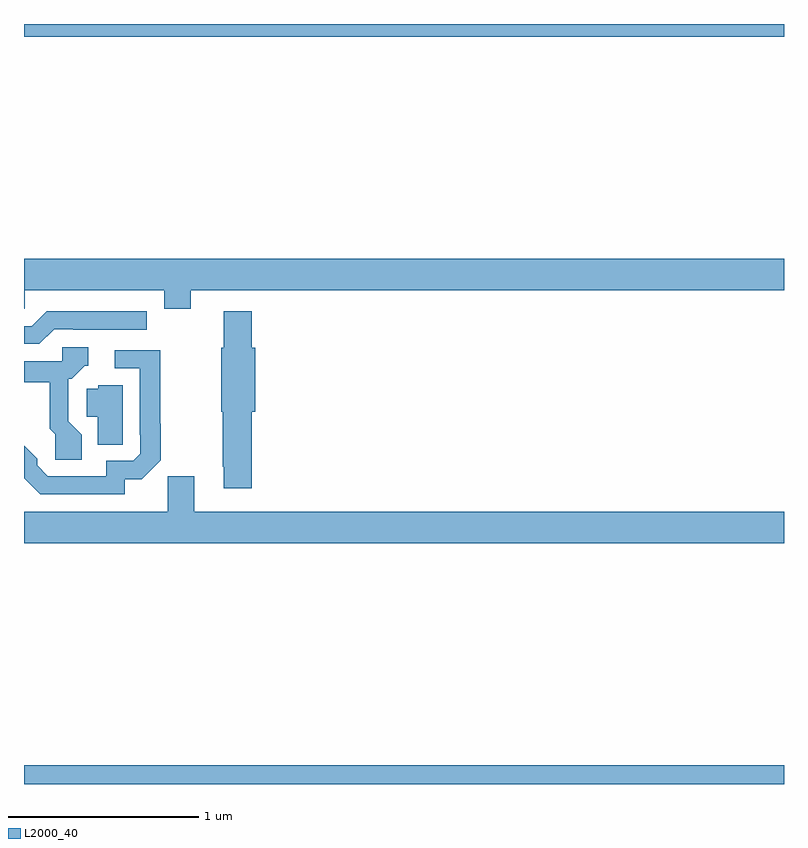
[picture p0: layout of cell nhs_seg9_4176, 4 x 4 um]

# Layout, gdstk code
import gdstk
lib = gdstk.Library(unit=1e-6, precision=1e-09)
def R(c, l, rs):  # rectangles x0, y0, x1, y1
    for r in rs: c.add(gdstk.rectangle(r[:2], r[2:], *l))
def P(c, l, *ps):  # polygons
    for p in ps: c.add(gdstk.Polygon(p, *l))
L2000_40 = (2000, 40)

nhs_seg9_4176 = lib.new_cell('nhs_seg9_4176')
R(nhs_seg9_4176, L2000_40, [(351,1180.5,355,1180.6), (351,1184.432,355,1184.5)])
P(nhs_seg9_4176, L2000_40, [(351.877,1183.1),(355,1183.1),(355,1183.264),(351,1183.264),(351,1183.002),(351.003,1183.002),(351.003,1183.1),(351.737,1183.1),(351.737,1183.001),(351.877,1183.001)],
  [(352.199,1182.459),(352.217,1182.459),(352.217,1182.795),(352.199,1182.795),(352.199,1182.988),(352.052,1182.988),(352.052,1182.795),(352.039,1182.795),(352.039,1182.459),(352.045,1182.459),(352.045,1182.169),(352.052,1182.169),(352.052,1182.057),(352.199,1182.057)],
  [(351.159,1182.894),(351.259,1182.894),(351.259,1182.891),(351.646,1182.891),(351.646,1182.987),(351.317,1182.987),(351.317,1182.988),(351.121,1182.988),(351.042,1182.909),(351,1182.909),(351,1182.816),(351.081,1182.816)],
  [(351.304,1182.338),(351.234,1182.408),(351.234,1182.633),(351.252,1182.633),(351.321,1182.702),(351.337,1182.702),(351.337,1182.798),(351.201,1182.798),(351.201,1182.726),(351,1182.726),(351,1182.615),(351.136,1182.615),(351.136,1182.37),(351.165,1182.341),(351.165,1182.207),(351.304,1182.207)],
  [(351.531,1182.105),(351.62,1182.105),(351.72,1182.204),(351.72,1182.395),(351.718,1182.395),(351.718,1182.783),(351.477,1182.783),(351.477,1182.687),(351.609,1182.687),(351.609,1182.337),(351.612,1182.337),(351.612,1182.237),(351.576,1182.201),(351.432,1182.201),(351.432,1182.12),(351.126,1182.12),(351.069,1182.177),(351.069,1182.211),(351,1182.28),(351,1182.11),(351.086,1182.024),(351.531,1182.024)],
  [(351.519,1182.598),(351.39,1182.598),(351.39,1182.579),(351.33,1182.579),(351.33,1182.434),(351.389,1182.434),(351.389,1182.286),(351.519,1182.286)],
  [(355,1181.932),(351.895,1181.932),(351.895,1182.12),(351.757,1182.12),(351.757,1181.932),(351,1181.932),(351,1181.768),(355,1181.768)])

lib.write_gds('nhs_seg9_4176.gds')
